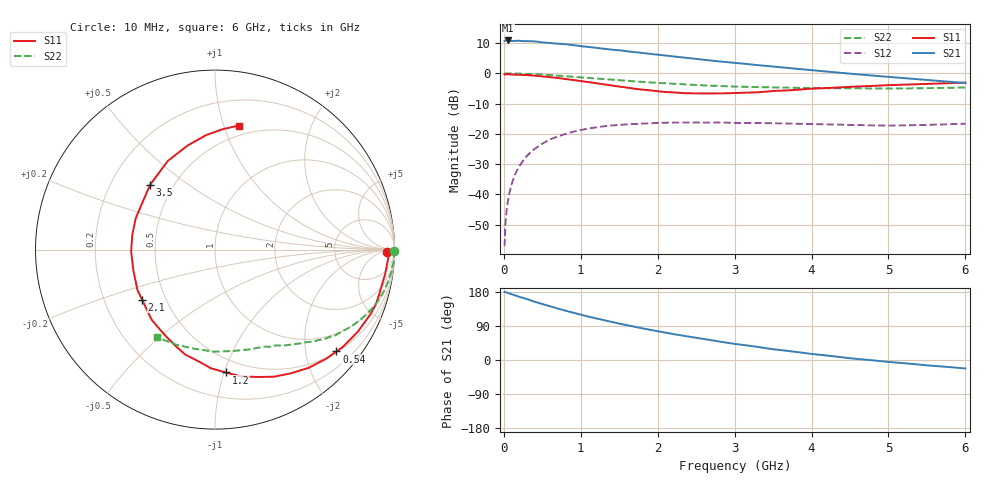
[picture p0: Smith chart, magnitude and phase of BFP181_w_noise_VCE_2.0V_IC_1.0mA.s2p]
! Infineon Technologies  Discrete & RF Semiconductors
! BFP181
! VCE = 2.0 V,  IC =  1.0 mA
! Common Emitter S-Parameters:  Jan 2016
# GHz  S  MA  R  50
!  f  S11  S21  S12  S22
! GHz  MAG  ANG  MAG  ANG  MAG  ANG  MAG  ANG
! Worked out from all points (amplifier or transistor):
!   210 points, 10 MHz to 6 GHz, reference 50 ohm
!   highest |S21| = 10.9 dB at 50 MHz (marker M1)
!   |S21| within 3 dB of that: start of sweep to 1.383 GHz
!   unconditionally stable (mu >= 1): 3.011 GHz to end of sweep
!   at 185 MHz: K = 0.07, MSG = 21.1 dB, |S12| = -31.4 dB
!   at 1.52 GHz: K = 0.54, MSG = 12.3 dB, |S12| = -17.0 dB
!   at 6 GHz: K = 1.29, MAG = 3.5 dB, |S12| = -16.6 dB
!   lowest NFmin = 1.30 dB at 450 MHz
!   S11 on the Smith chart (normalised r, x): 10 MHz: 43, -15; 540 MHz: 0.52, -2.66; 1.2 GHz: 0.39, -1.01; 2.1 GHz: 0.37, -0.27; 3.5 GHz: 0.37, +0.36; 6 GHz: 0.41, +1.12
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0.01  0.9595 -0.8  3.44 179.7  0.0014 74.7  0.998 -0.3
0.02  0.9697 -1.5  3.486 179.3  0.0032 81.3  0.9978 -0.7
0.035  0.9673 -2.5  3.491 178.0  0.0053 86.6  0.9972 -1.3
0.05  0.9652 -3.5  3.498 176.8  0.0074 88.9  0.9968 -1.9
0.11  0.9572 -8.3  3.427 172.9  0.016 83.6  0.998 -3.9
0.2  0.9483 -15.2  3.46 166.8  0.0291 80.1  0.9906 -7.1
0.4  0.918 -29.9  3.379 153.7  0.0564 70.6  0.9691 -13.9
0.54  0.8829 -40.0  3.226 145.2  0.0737 63.6  0.9475 -18.3
0.8  0.8078 -58.7  3.042 130.1  0.1 52.8  0.8993 -25.7
1.02  0.7407 -73.1  2.8 118.7  0.1174 44.5  0.8553 -31.2
1.2  0.6874 -84.9  2.636 109.9  0.1289 38.2  0.8243 -35.3
1.58  0.5867 -110.6  2.335 92.7  0.1436 28.2  0.7574 -42.2
1.8  0.5382 -125.7  2.172 83.5  0.1487 23.3  0.7217 -45.7
2.02  0.5029 -140.2  2.018 75.2  0.1528 18.8  0.6954 -49.0
2.1  0.4929 -145.6  1.964 72.3  0.1531 17.3  0.6855 -50.3
2.6  0.4673 -178.8  1.68 55.3  0.1535 9.8  0.6322 -57.6
3.1  0.4757 153.4  1.454 40.0  0.1515 4.0  0.6007 -64.9
3.5  0.5112 135.0  1.299 28.4  0.1503 1.0  0.5878 -71.2
4.1  0.5652 115.2  1.1 14.0  0.1443 -2.0  0.5707 -82.5
4.5  0.6003 104.6  0.989 4.6  0.1406 -3.3  0.5686 -90.7
5.1  0.6451 92.8  0.854 -6.7  0.1378 -1.7  0.5639 -103.5
6  0.7038 79.2  0.694 -22.3  0.1475 0.6  0.5852 -123.2
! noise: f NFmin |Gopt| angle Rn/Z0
0.45  1.3  0.7  18  0.5
0.9  1.4  0.6  39  0.52
1.8  1.85  0.4  81  0.47
